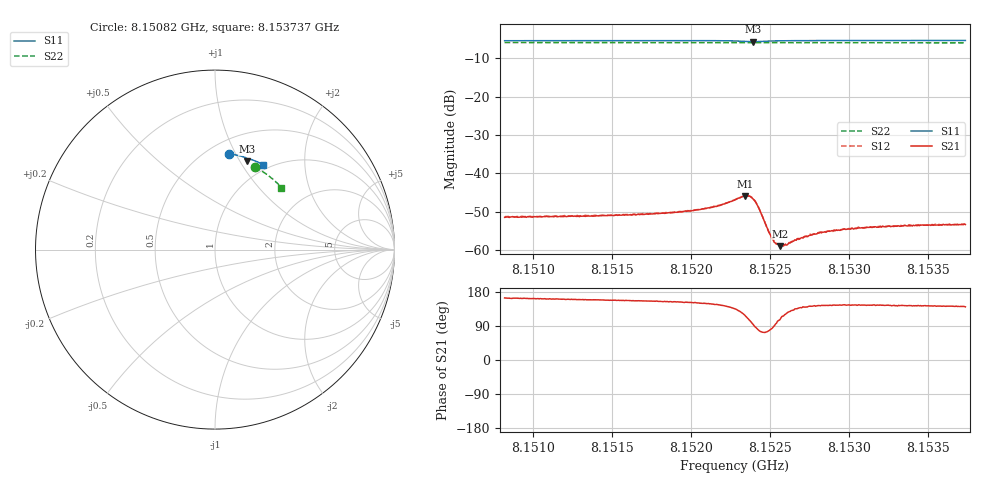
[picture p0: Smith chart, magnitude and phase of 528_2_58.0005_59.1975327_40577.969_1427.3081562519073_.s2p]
#  HZ  S  RI  R  50.00
! Rohde & Schwarz Vector Network Analyzer
! Rohde-Schwarz,ZNB20-2Port,1311601062101988,3.16
! Created: UTC 3/21/2024, 1:13:59 AM
! freq[Hz]  re:S11  im:S11  re:S21  im:S21  re:S12  im:S12  re:S22  im:S22
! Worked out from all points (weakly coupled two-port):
!   401 points, 8.15082 GHz to 8.153737 GHz, reference 50 ohm
!   highest |S21| = -45.88 dB at 8.152344 GHz (marker M1); lowest = -59.0 dB at 8.152563 GHz (marker M2)
!   lowest |S11| = -5.6 dB at 8.152396 GHz (marker M3), VSWR 3.19, Z = 39.6 + j53.6 ohm
!   |S11| at or under -10 dB: nowhere
!   |S22| runs from -5.9 to -5.8 dB; largest |S21 - S12| = 0.00012
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8.1508205e9  0.0787 0.5333  -0.00255 0.000743  -0.00257 0.00082  0.2241 0.4584
8.151309e9  0.1126 0.528  -0.00257 0.000976  -0.00259 0.00101  0.2517 0.4433
8.1517976e9  0.1467 0.5202  -0.00271 0.00129  -0.00271 0.00132  0.2779 0.4264
8.152082e9  0.1675 0.5134  -0.00297 0.00174  -0.00293 0.0018  0.2928 0.4158
8.1521913e9  0.176 0.5094  -0.00316 0.00225  -0.00311 0.00229  0.2984 0.4116
8.1522788e9  0.1829 0.5032  -0.00318 0.00318  -0.00314 0.00326  0.3027 0.4081
8.1523445e9  0.1844 0.4948  -0.00227 0.00454  -0.00227 0.0046  0.3058 0.4052
8.1523736e9  0.1814 0.4916  -0.00117 0.00486  -0.00111 0.0049  0.3071 0.4041
8.1523955e9  0.178 0.4913  -0.000215 0.00457  -0.000161 0.0046  0.308 0.4033
8.1524247e9  0.1749 0.4946  0.000645 0.00363  0.000734 0.00365  0.3094 0.4024
8.1524903e9  0.1785 0.5024  0.000407 0.0017  0.000449 0.00171  0.3126 0.4001
8.1525122e9  0.1807 0.5035  0.000172 0.0014  0.000195 0.00143  0.3139 0.3994
8.1525413e9  0.1839 0.5042  -0.000146 0.00119  -0.000132 0.00119  0.3155 0.3979
8.1525632e9  0.1862 0.5045  -0.000315 0.00108  -0.00031 0.00111  0.3165 0.3972
8.1525851e9  0.1883 0.5045  -0.000505 0.00104  -0.000509 0.000996  0.3176 0.3963
8.1526143e9  0.1911 0.5042  -0.000701 0.000965  -0.000704 0.000999  0.3192 0.3952
8.1526653e9  0.1956 0.5035  -0.000948 0.00094  -0.000952 0.000938  0.3215 0.3931
8.1527674e9  0.2037 0.5013  -0.00124 0.00097  -0.00125 0.000975  0.3265 0.3888
8.152833e9  0.2085 0.4997  -0.00138 0.000999  -0.00136 0.00102  0.3297 0.3861
8.1529715e9  0.2181 0.4961  -0.00156 0.00106  -0.00152 0.0011  0.3362 0.3802
8.1532559e9  0.2369 0.4882  -0.00166 0.0012  -0.00165 0.00121  0.3492 0.3676
8.1537372e9  0.2672 0.4732  -0.00165 0.00137  -0.00169 0.00137  0.3701 0.3455
